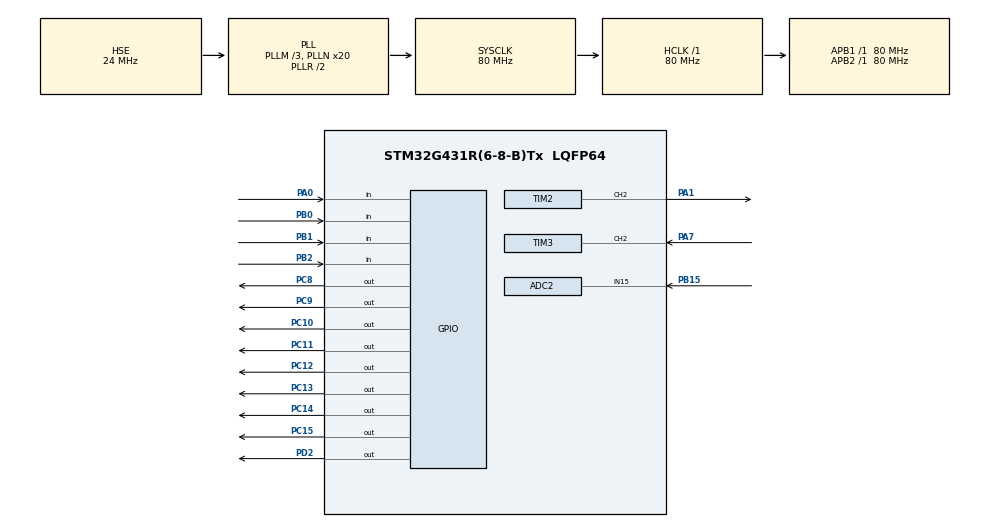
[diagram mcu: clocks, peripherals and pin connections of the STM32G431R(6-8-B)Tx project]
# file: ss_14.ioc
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ADC2.Channel-0\#ChannelRegularConversion=ADC_CHANNEL_15
ADC2.NbrOfConversionFlag=1
ADC2.OffsetNumber-0\#ChannelRegularConversion=ADC_OFFSET_NONE
ADC2.Rank-0\#ChannelRegularConversion=1
ADC2.SamplingTime-0\#ChannelRegularConversion=ADC_SAMPLETIME_2CYCLES_5
Mcu.Family=STM32G4
Mcu.Name=STM32G431R(6-8-B)Tx
Mcu.Package=LQFP64
NVIC.PriorityGroup=NVIC_PRIORITYGROUP_4
NVIC.TIM2_IRQn=true\:0\:0\:false\:false\:true\:true\:true\:true
NVIC.TIM3_IRQn=true\:0\:0\:false\:false\:true\:true\:true\:true
NVIC.TIM6_DAC_IRQn=true\:0\:0\:false\:false\:true\:true\:true\:true
PA0.GPIO_PuPd=GPIO_PULLUP
PA0.Signal=GPIO_Input
PA1.Signal=S_TIM2_CH2
PA7.Signal=S_TIM3_CH2
PB0.GPIO_PuPd=GPIO_PULLUP
PB0.Signal=GPIO_Input
PB1.GPIO_PuPd=GPIO_PULLUP
PB1.Signal=GPIO_Input
PB15.Mode=IN15-Single-Ended
PB15.Signal=ADC2_IN15
PB2.GPIO_PuPd=GPIO_PULLUP
PB2.Signal=GPIO_Input
PC10.Signal=GPIO_Output
PC11.Signal=GPIO_Output
PC12.Signal=GPIO_Output
PC13.Signal=GPIO_Output
PC14-OSC32_IN.Signal=GPIO_Output
PC15-OSC32_OUT.Signal=GPIO_Output
PC8.Signal=GPIO_Output
PC9.Signal=GPIO_Output
PD2.Signal=GPIO_Output
PF0-OSC_IN.Mode=HSE-External-Oscillator
PF0-OSC_IN.Signal=RCC_OSC_IN
PF1-OSC_OUT.Mode=HSE-External-Oscillator
PF1-OSC_OUT.Signal=RCC_OSC_OUT
ProjectManager.HeapSize=0x200
ProjectManager.StackSize=0x400
ProjectManager.TargetToolchain=MDK-ARM V5.32
RCC.ADC12Freq_Value=80000000
RCC.AHBFreq_Value=80000000
RCC.APB1Freq_Value=80000000
RCC.APB1TimFreq_Value=80000000
RCC.APB2Freq_Value=80000000
RCC.APB2TimFreq_Value=80000000
RCC.CortexFreq_Value=80000000
RCC.EXTERNAL_CLOCK_VALUE=12288000
RCC.HCLKFreq_Value=80000000
RCC.HSE_VALUE=24000000
RCC.HSI48_VALUE=48000000
RCC.HSI_VALUE=16000000
RCC.LSE_VALUE=32768
RCC.PLLM=RCC_PLLM_DIV3
RCC.PLLN=20
RCC.PLLSourceVirtual=RCC_PLLSOURCE_HSE
RCC.SYSCLKFreq_VALUE=80000000
RCC.SYSCLKSource=RCC_SYSCLKSOURCE_PLLCLK
RCC.USBFreq_Value=80000000
RCC.VCOOutputFreq_Value=160000000
SH.S_TIM2_CH2.0=TIM2_CH2,PWM Generation2 CH2
SH.S_TIM3_CH2.0=TIM3_CH2,Input_Capture2_from_TI2
TIM2.AutoReloadPreload=TIM_AUTORELOAD_PRELOAD_DISABLE
TIM2.Channel-PWM\ Generation2\ CH2=TIM_CHANNEL_2
TIM2.PeriodNoDither=100-1
TIM2.Prescaler=200-1
TIM2.PulseNoDither_2=10
TIM3.AutoReloadPreload=TIM_AUTORELOAD_PRELOAD_ENABLE
TIM3.Channel-Input_Capture2_from_TI2=TIM_CHANNEL_2
TIM3.Prescaler=80-1
TIM6.PeriodNoDither=10000-1
TIM6.Prescaler=79
VP_SYS_VS_DBSignals.Mode=DisableDeadBatterySignals
VP_TIM2_VS_ClockSourceINT.Mode=Internal
VP_TIM3_VS_ClockSourceINT.Mode=Internal
VP_TIM6_VS_ClockSourceINT.Mode=Enable_Timer
board=custom

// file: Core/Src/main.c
/* USER CODE BEGIN Header */
/**
  ******************************************************************************
  * @file           : main.c
  * @brief          : Main program body
  ******************************************************************************
  * @attention
  *
  * Copyright (c) 2025 STMicroelectronics.
  * All rights reserved.
  *
  * This software is licensed under terms that can be found in the LICENSE file
  * in the root directory of this software component.
  * If no LICENSE file comes with this software, it is provided AS-IS.
  *
  ******************************************************************************
  */
/* USER CODE END Header */
#include "main.h"
#include "adc.h"
#include "tim.h"
#include "gpio.h"

/* USER CODE BEGIN Includes */
#include "config.h"
/* USER CODE END Includes */

void SystemClock_Config(void);

int main(void)
{

  /* MCU Configuration--------------------------------------------------------*/

  /* Reset of all peripherals, Initializes the Flash interface and the Systick. */
  HAL_Init();

  /* Configure the system clock */
  SystemClock_Config();

  /* Initialize all configured peripherals */
  MX_GPIO_Init();
  MX_TIM6_Init();
  MX_TIM3_Init();
  MX_TIM2_Init();
  MX_ADC2_Init();
  /* USER CODE BEGIN 2 */
	LCD_Init();
	LCD_Clear(Black);
	LCD_SetBackColor(Black);
	LCD_SetTextColor(White);
	TIM2->PSC=200-1;
	TIM2->ARR=100-1;
	TIM2->CCR2=0;
	HAL_TIM_Base_Start_IT(&htim6);
	HAL_TIM_IC_Start_IT(&htim3,TIM_CHANNEL_2);	//打开定时器输入捕获(中断启动)
	HAL_TIM_PWM_Start(&htim2,TIM_CHANNEL_2);
	HAL_ADCEx_Calibration_Start(&hadc2,ADC_SINGLE_ENDED);
	RValue_ControlFlag=1;
	Data_ModeFlag=1;
  /* USER CODE END 2 */

  /* Infinite loop */
  while (1)
  {

    /* USER CODE BEGIN 3 */
		Task_run();
  }
  /* USER CODE END 3 */
}

void SystemClock_Config(void)
{
  RCC_OscInitTypeDef RCC_OscInitStruct = {0};
  RCC_ClkInitTypeDef RCC_ClkInitStruct = {0};

  /** Configure the main internal regulator output voltage
  */
  HAL_PWREx_ControlVoltageScaling(PWR_REGULATOR_VOLTAGE_SCALE1);

  /** Initializes the RCC Oscillators according to the specified parameters
  * in the RCC_OscInitTypeDef structure.
  */
  RCC_OscInitStruct.OscillatorType = RCC_OSCILLATORTYPE_HSE;
  RCC_OscInitStruct.HSEState = RCC_HSE_ON;
  RCC_OscInitStruct.PLL.PLLState = RCC_PLL_ON;
  RCC_OscInitStruct.PLL.PLLSource = RCC_PLLSOURCE_HSE;
  RCC_OscInitStruct.PLL.PLLM = RCC_PLLM_DIV3;
  RCC_OscInitStruct.PLL.PLLN = 20;
  RCC_OscInitStruct.PLL.PLLP = RCC_PLLP_DIV2;
  RCC_OscInitStruct.PLL.PLLQ = RCC_PLLQ_DIV2;
  RCC_OscInitStruct.PLL.PLLR = RCC_PLLR_DIV2;
  if (HAL_RCC_OscConfig(&RCC_OscInitStruct) != HAL_OK)
  {
    Error_Handler();
  }

  /** Initializes the CPU, AHB and APB buses clocks
  */
  RCC_ClkInitStruct.ClockType = RCC_CLOCKTYPE_HCLK|RCC_CLOCKTYPE_SYSCLK
                              |RCC_CLOCKTYPE_PCLK1|RCC_CLOCKTYPE_PCLK2;
  RCC_ClkInitStruct.SYSCLKSource = RCC_SYSCLKSOURCE_PLLCLK;
  RCC_ClkInitStruct.AHBCLKDivider = RCC_SYSCLK_DIV1;
  RCC_ClkInitStruct.APB1CLKDivider = RCC_HCLK_DIV1;
  RCC_ClkInitStruct.APB2CLKDivider = RCC_HCLK_DIV1;

  if (HAL_RCC_ClockConfig(&RCC_ClkInitStruct, FLASH_LATENCY_2) != HAL_OK)
  {
    Error_Handler();
  }
}

void Error_Handler(void)
{
  __disable_irq();
  while (1)
  {
  }
}
